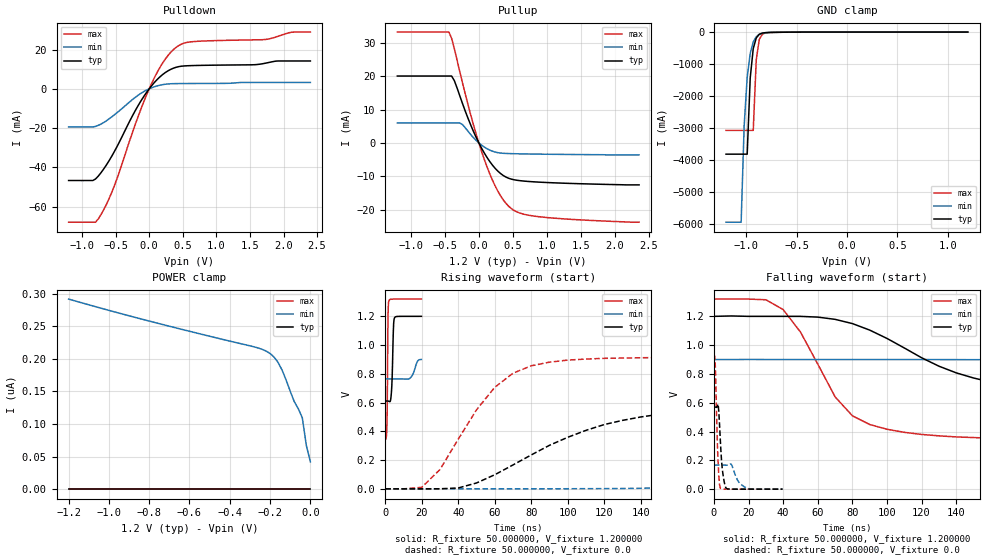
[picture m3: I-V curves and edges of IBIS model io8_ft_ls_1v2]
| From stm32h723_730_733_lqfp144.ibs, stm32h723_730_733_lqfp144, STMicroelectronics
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|   Model io8_ft_ls_1v2
[Model]  io8_ft_ls_1v2
Model_type I/O
Polarity   Non-Inverting
Enable   Active-Low
Vinl =   0.360000V
Vinh =   0.840000V
Vmeas =  0.600000V
Cref =   30.000000pF
Rref =   100.000000M
Vref =   0.0V
C_comp   2.988100pF   2.964800pF   3.005000pF
[Temperature Range]   25.000000   0.140000k   -40.000000
[Pullup Reference]   1.200000V   0.900000V   1.320000V
[Pulldown Reference]   0.0V   0.0V   0.0V
[POWER Clamp Reference]   1.200000V   0.900000V   1.320000V
[GND Clamp Reference]   0.0V   0.0V   0.0V
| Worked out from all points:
|   slope of the pulldown table from 0 to 0.18 V, typ, clamps not added: 27 ohm
|   slope of the pullup table from 0 to 0.18 V, typ, clamps not added: 29.5 ohm
|   GND clamp passes 1 mA (typ) near -0.49 V on its own axis
|   rising waveform, R_fixture 50.000000, V_fixture 1.200000: 20-80 % time 753ps typ, 2.28ns min, 407ps max; typ from 0.611 V to 1.2 V
|   rising waveform, R_fixture 50.000000, V_fixture 0.0: 20-80 % time 60.6ns typ, 177ns min, 30.3ns max; typ from 0 V to 0.57 V
|   falling waveform, R_fixture 50.000000, V_fixture 1.200000: 20-80 % time 72.8ns typ, 204ns min, 29.9ns max; typ from 1.2 V to 0.611 V
|   falling waveform, R_fixture 50.000000, V_fixture 0.0: 20-80 % time 1.91ns typ, 4.35ns min, 1.36ns max; typ from 0.57 V to 0 V
[Pulldown]
|Voltage   I(typ)   I(min)   I(max)
-1.2V     -46.68mA   -19.4mA    -67.88mA
-800mV    -45.91mA   -19.16mA   -67.88mA
-720mV    -42.8mA    -17.98mA   -64.13mA
-520mV    -32.02mA   -13.28mA   -49.45mA
-200mV    -10.65mA   -4.149mA   -17.41mA
0V        0A         -2pA       0A
200mV     7.248mA    2.118mA    13.13mA
400mV     10.95mA    2.645mA    21.07mA
600mV     11.77mA    2.694mA    23.82mA
1.72V     12.96mA    3.222mA    25.06mA
2.12V     14.16mA    3.222mA    28.8mA
2.4V      14.16mA    3.222mA    28.86mA
[Pullup]
|Voltage   I(typ)   I(min)   I(max)
-1.2V     20.05mA    5.971mA    33.24mA
-440mV    20.05mA    5.971mA    33.24mA
-400mV    20.05mA    5.971mA    31.32mA
-360mV    18.64mA    5.971mA    28.24mA
-240mV    11.79mA    5.492mA    17.97mA
-80mV     3.485mA    1.59mA     5.502mA
80mV      -3.02mA    -1.247mA   -4.933mA
280mV     -8.473mA   -2.935mA   -14.47mA
480mV     -10.88mA   -3.229mA   -19.74mA
640mV     -11.41mA   -3.303mA   -21.29mA
920mV     -11.81mA   -3.389mA   -22.24mA
2.36V     -12.6mA    -3.6mA     -23.8mA
[GND_clamp]
|Voltage   I(typ)   I(min)   I(max)
-1.2V     -3.825A    -5.957A    -3.08A
-1.05V    -3.825A    -5.957A    -3.08A
-1.02V    -3.825A    -2.931A    -3.08A
-990mV    -3.825A    -1.42A     -3.08A
-960mV    -1.441A    -668.9mA   -3.08A
-930mV    -519mA     -309.3mA   -3.08A
-900mV    -183.4mA   -143.6mA   -867.5mA
-870mV    -69.4mA    -69.06mA   -230.1mA
-840mV    -31.29mA   -35.69mA   -66.87mA
-810mV    -17.92mA   -20.54mA   -26.67mA
-750mV    -9.804mA   -9.737mA   -11.79mA
1.2V      0A         -18.75nA   0A
[POWER_clamp]
|Voltage   I(typ)   I(min)   I(max)
-1.2V     0A         291.7nA    0A
-780mV    0A         256.3nA    0A
-280mV    0A         218.4nA    0A
-200mV    0A         208.2nA    0A
-180mV    0A         202.6nA    0A
-160mV    0A         194.3nA    0A
-140mV    0A         182.4nA    0A
-80mV     0A         134.4nA    0A
-60mV     0A         123.5nA    0A
-40mV     0A         109.5nA    0A
-20mV     0A         67.03nA    0A
0V        0A         42.01nA    0A
[Ramp]
| variable   typ   min   max
dV/dt_r  0.34183/60.52389n   0.10001/0.17633u   0.54869/29.63772n
dV/dt_f  0.35359/72.20505n   81.12600m/0.20438u  0.58421/28.56734n
R_load = 50.000000
[Rising Waveform]
R_fixture= 50.000000
V_fixture= 1.200000
V_fixture_min= 0.900000
V_fixture_max= 1.320000
|time   V(typ)   V(min)   V(max)
0s        610.7mV    764.2mV    344.8mV
1.001ns   610.8mV    764.2mV    476.8mV
1.401ns   610.8mV    764.2mV    1.074V
1.602ns   610.5mV    764.2mV    1.251V
2.002ns   608.7mV    764.2mV    1.308V
3.403ns   675mV      764.2mV    1.319V
4.404ns   1.086V     764.2mV    1.32V
5.005ns   1.187V     764.2mV    1.32V
13.41ns   1.2V       767.9mV    1.32V
19.82ns   1.2V       900mV      1.32V
[Rising Waveform]
R_fixture= 50.000000
V_fixture= 0.0
V_fixture_min= 0.0
V_fixture_max= 0.0
|time   V(typ)   V(min)   V(max)
0s        3.664nV    1.109uV    980.7pV
20.02ns   -105.7uV   -2.413mV   10.5mV
30.03ns   340.5uV    -14.39uV   134.5mV
50.05ns   40.78mV    3.574uV    549.8mV
70.07ns   166.5mV    49.41uV    804.5mV
100.1ns   358.9mV    543.1uV    895.7mV
140.1ns   500mV      3.792mV    911.8mV
210.2ns   561mV      35.74mV    914.3mV
490.5ns   569.7mV    157.5mV    914.3mV
991ns     569.7mV    166.8mV    914.3mV
[Falling Waveform]
R_fixture= 50.000000
V_fixture= 1.200000
V_fixture_min= 0.900000
V_fixture_max= 1.320000
|time   V(typ)   V(min)   V(max)
0s        1.2V       900mV      1.32V
30.03ns   1.2V       900.2mV    1.315V
40.04ns   1.2V       900mV      1.247V
70.07ns   1.179V     900mV      640.6mV
80.08ns   1.15V      900mV      509.1mV
120.1ns   912.1mV    899.9mV    380mV
170.2ns   720.7mV    898.2mV    352.4mV
270.3ns   629.5mV    872.9mV    345.1mV
480.5ns   610.9mV    790.1mV    344.8mV
991ns     610.7mV    764.2mV    344.8mV
[Falling Waveform]
R_fixture= 50.000000
V_fixture= 0.0
V_fixture_min= 0.0
V_fixture_max= 0.0
|time   V(typ)   V(min)   V(max)
0s        569.7mV    166.8mV    914.3mV
800.8ps   569.7mV    166.8mV    853.2mV
2.002ns   576.4mV    166.8mV    303.7mV
2.402ns   590.2mV    166.8mV    187.7mV
3.604ns   360.2mV    166.8mV    9.055mV
4.805ns   141.4mV    166.8mV    1.433mV
7.207ns   5.012mV    166.5mV    220.9uV
10.01ns   463uV      172.7mV    58.71uV
18.02ns   11.22uV    13.14mV    -7.931uV
39.64ns   3.664nV    1.109uV    980.7pV
